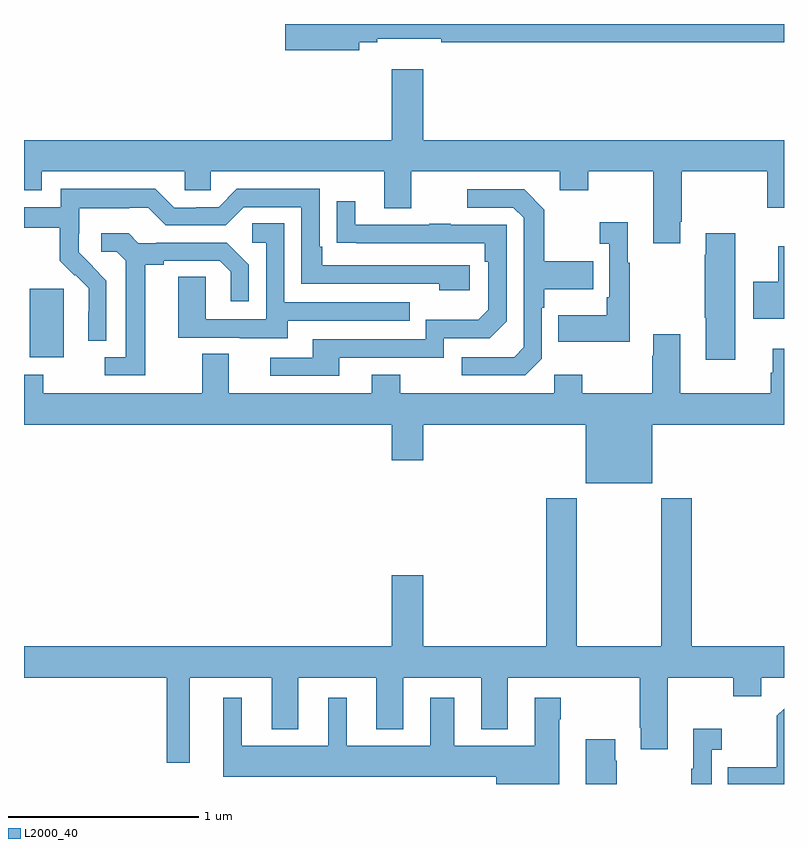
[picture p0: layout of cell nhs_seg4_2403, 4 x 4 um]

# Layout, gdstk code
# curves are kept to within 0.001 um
import gdstk
lib = gdstk.Library(unit=1e-6, precision=1e-09)
def R(c, l, rs):  # rectangles x0, y0, x1, y1
    for r in rs: c.add(gdstk.rectangle(r[:2], r[2:], *l))
def P(c, l, *ps):  # polygons
    for p in ps: c.add(gdstk.Polygon(p, *l))
L2000_40 = (2000, 40)

nhs_seg4_2403 = lib.new_cell('nhs_seg4_2403')
R(nhs_seg4_2403, L2000_40, [(235.031,825.146,235.21,825.507)])
P(nhs_seg4_2403, L2000_40, [(236.764,826.804),(236.86,826.804),(236.86,826.823),(237.196,826.823),(237.196,826.804),(239,826.804),(239,826.9),(236.376,826.9),(236.376,826.762),(236.764,826.762)],
  [(238.453,825.859),(238.461,825.859),(238.461,826.124),(238.912,826.124),(238.912,825.933),(239,825.933),(239,826.288),(237.1,826.288),(237.1,826.663),(236.936,826.663),(236.936,826.288),(235,826.288),(235,826.025),(235.093,826.025),(235.093,826.124),(235.845,826.124),(235.845,826.026),(235.983,826.026),(235.983,826.124),(236.897,826.124),(236.897,825.93),(237.037,825.93),(237.037,826.124),(237.821,826.124),(237.821,826.025),(237.969,826.025),(237.969,826.124),(238.313,826.124),(238.313,825.747),(238.453,825.747)],
  [(235.434,825.55),(235.288,825.698),(235.288,825.795),(235.29,825.795),(235.29,825.929),(235.553,825.929),(235.553,825.933),(235.653,825.933),(235.746,825.84),(236.061,825.84),(236.157,825.936),(236.46,825.936),(236.46,825.534),(237.185,825.534),(237.185,825.5),(237.346,825.5),(237.346,825.63),(236.569,825.63),(236.569,825.727),(236.556,825.727),(236.556,826.032),(236.121,826.032),(236.025,825.936),(235.907,825.936),(235.907,825.933),(235.791,825.933),(235.691,826.033),(235.194,826.033),(235.194,825.936),(235,825.936),(235,825.828),(235.189,825.828),(235.189,825.653),(235.266,825.576),(235.269,825.579),(235.34,825.509),(235.34,825.386),(235.338,825.386),(235.338,825.232),(235.434,825.232)],
  [(237.726,825.138),(237.726,825.407),(237.739,825.407),(237.739,825.503),(237.995,825.503),(237.995,825.651),(237.739,825.651),(237.739,825.923),(237.633,826.029),(237.333,826.029),(237.333,825.933),(237.576,825.933),(237.63,825.879),(237.63,825.198),(237.579,825.147),(237.303,825.147),(237.303,825.051),(237.639,825.051)],
  [(236.659,825.144),(237.21,825.144),(237.21,825.246),(237.45,825.246),(237.54,825.336),(237.54,825.843),(237.245,825.843),(237.245,825.848),(237.133,825.848),(237.133,825.843),(236.743,825.843),(236.743,825.967),(236.647,825.967),(236.647,825.748),(237.424,825.747),(237.424,825.65),(237.444,825.65),(237.444,825.396),(237.391,825.343),(237.114,825.343),(237.114,825.24),(236.519,825.24),(236.519,825.144),(236.295,825.144),(236.295,825.048),(236.659,825.048)],
  [(238.189,825.643),(238.177,825.643),(238.177,825.856),(238.029,825.856),(238.029,825.743),(238.08,825.743),(238.08,825.463),(238.068,825.463),(238.068,825.367),(237.811,825.367),(237.811,825.227),(238.189,825.227)],
  [(236.389,825.339),(237.029,825.339),(237.029,825.435),(236.37,825.435),(236.37,825.851),(236.202,825.851),(236.202,825.75),(236.274,825.75),(236.274,825.345),(235.956,825.345),(235.956,825.569),(235.811,825.569),(235.811,825.249),(236.135,825.249),(236.135,825.245),(236.389,825.245)],
  [(238.744,825.799),(238.589,825.799),(238.589,825.686),(238.582,825.686),(238.582,825.355),(238.589,825.355),(238.589,825.132),(238.744,825.132)],
  [(235.639,825.632),(235.735,825.632),(235.735,825.654),(236.03,825.654),(236.087,825.597),(236.087,825.441),(236.184,825.441),(236.184,825.634),(236.068,825.75),(235.696,825.75),(235.696,825.747),(235.602,825.747),(235.55,825.799),(235.407,825.799),(235.407,825.702),(235.488,825.702),(235.535,825.655),(235.535,825.147),(235.425,825.147),(235.425,825.051),(235.639,825.051)],
  [(239,825.73),(238.97,825.73),(238.97,825.544),(238.838,825.544),(238.838,825.35),(239,825.35)],
  [(238.306,824.792),(239,824.792),(239,825.19),(238.94,825.19),(238.94,825.065),(238.929,825.065),(238.929,824.956),(238.453,824.956),(238.453,825.268),(238.313,825.268),(238.313,825.155),(238.306,825.155),(238.306,824.956),(237.939,824.956),(237.939,825.055),(237.792,825.055),(237.792,824.956),(236.979,824.956),(236.979,825.055),(236.831,825.055),(236.831,824.956),(236.077,824.956),(236.077,825.164),(235.937,825.164),(235.937,824.956),(235.101,824.956),(235.101,825.055),(235,825.055),(235,824.792),(236.936,824.792),(236.936,824.604),(237.1,824.604),(237.1,824.792),(237.956,824.792),(237.956,824.483),(238.306,824.483)],
  [(237.909,824.404),(237.749,824.404),(237.749,823.624),(237.1,823.624),(237.1,823.999),(236.936,823.999),(236.936,823.624),(235,823.624),(235,823.46),(235.752,823.46),(235.752,823.011),(235.873,823.011),(235.873,823.46),(236.303,823.46),(236.303,823.187),(236.443,823.187),(236.443,823.46),(236.855,823.46),(236.855,823.187),(236.995,823.187),(236.995,823.46),(237.407,823.46),(237.407,823.187),(237.547,823.187),(237.547,823.46),(238.24,823.46),(238.24,823.195),(238.247,823.195),(238.247,823.083),(238.387,823.083),(238.387,823.46),(238.732,823.46),(238.732,823.361),(238.879,823.361),(238.879,823.46),(239,823.46),(239,823.624),(238.514,823.624),(238.514,824.404),(238.354,824.404),(238.354,823.624),(237.909,823.624)],
  [(237.817,823.241),(237.825,823.241),(237.825,823.354),(237.689,823.354),(237.689,823.102),(237.265,823.102),(237.265,823.354),(237.137,823.354),(237.137,823.102),(236.698,823.102),(236.698,823.354),(236.6,823.354),(236.6,823.102),(236.146,823.102),(236.146,823.354),(236.048,823.354),(236.048,822.938),(237.485,822.938),(237.485,822.9),(237.817,822.9)],
  [(239,823.297),(238.962,823.259),(238.962,822.987),(238.705,822.987),(238.705,822.9),(239,822.9)],
  [(238.62,823.079),(238.672,823.079),(238.672,823.192),(238.523,823.192),(238.523,822.979),(238.512,822.979),(238.512,822.9),(238.62,822.9)],
  [(238.119,823.022),(238.111,823.022),(238.111,823.135),(237.956,823.135),(237.956,822.9),(238.119,822.9)])

lib.write_gds('nhs_seg4_2403.gds')
